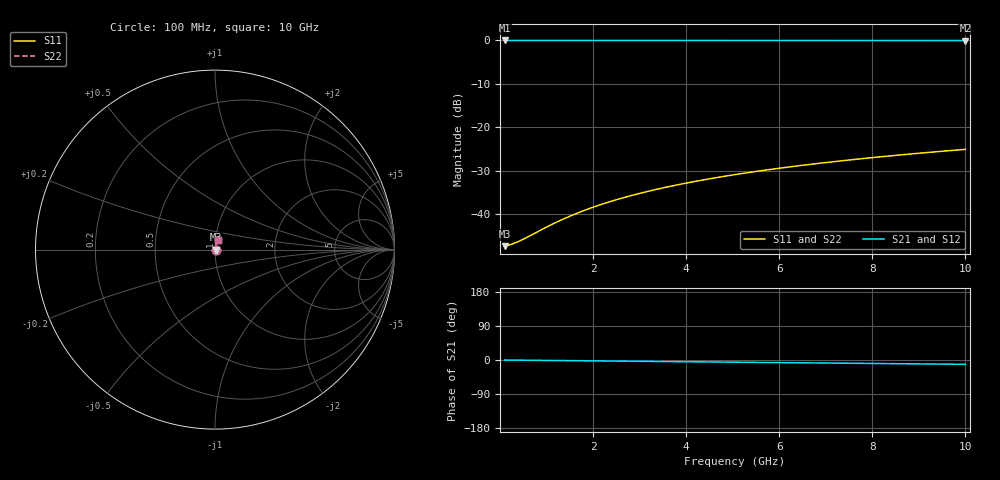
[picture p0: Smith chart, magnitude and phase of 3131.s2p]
# Hz S RI R 50.00
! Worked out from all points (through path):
!   100 points, 100 MHz to 10 GHz, reference 50 ohm
!   highest |S21| = -0.04 dB at 100 MHz (marker M1); lowest = -0.1 dB at 10 GHz (marker M2)
!   group delay of S21, straight-line fit = 3.17 ps
!   lowest |S11| = -47.3 dB at 100 MHz (marker M3), VSWR 1.01, Z = 50.4 + j0.0556 ohm
!   |S11| at or under -10 dB: start of sweep to end of sweep
!   |S22| runs from -47.3 to -25.1 dB; largest |S21 - S12| = 0
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1e8  0.00426 0.000551  0.9957 -0.00198  0.9957 -0.00198  0.00426 0.000551
2e8  0.00429 0.0011  0.9957 -0.00397  0.9957 -0.00397  0.00429 0.0011
3e8  0.00432 0.00165  0.9957 -0.00595  0.9957 -0.00595  0.00432 0.00165
4e8  0.00434 0.0022  0.9956 -0.00794  0.9956 -0.00794  0.00434 0.0022
5e8  0.00436 0.00275  0.9956 -0.00992  0.9956 -0.00992  0.00436 0.00275
1e9  0.0045 0.00551  0.9954 -0.0198  0.9954 -0.0198  0.0045 0.00551
1.2e9  0.00456 0.00661  0.9953 -0.0238  0.9953 -0.0238  0.00456 0.00661
1.5e9  0.00467 0.00826  0.9951 -0.0298  0.9951 -0.0298  0.00467 0.00826
1.8e9  0.0048 0.0099  0.9948 -0.0357  0.9948 -0.0357  0.0048 0.0099
2.1e9  0.00494 0.0115  0.9946 -0.0416  0.9946 -0.0416  0.00494 0.0115
2.5e9  0.00516 0.0137  0.9942 -0.0496  0.9942 -0.0496  0.00516 0.0137
2.9e9  0.00542 0.0159  0.9937 -0.0575  0.9937 -0.0575  0.00542 0.0159
3.4e9  0.00578 0.0187  0.993 -0.0674  0.993 -0.0674  0.00578 0.0187
3.8e9  0.00612 0.0208  0.9923 -0.0753  0.9923 -0.0753  0.00612 0.0208
4.2e9  0.00648 0.023  0.9916 -0.0832  0.9916 -0.0832  0.00648 0.023
4.6e9  0.00688 0.0252  0.9909 -0.0911  0.9909 -0.0911  0.00688 0.0252
5.1e9  0.00743 0.0279  0.9898 -0.1009  0.9898 -0.1009  0.00743 0.0279
5.9e9  0.00842 0.0322  0.9879 -0.1167  0.9879 -0.1167  0.00842 0.0322
6.7e9  0.00954 0.0364  0.9857 -0.1324  0.9857 -0.1324  0.00954 0.0364
7.5e9  0.0108 0.0406  0.9833 -0.1481  0.9833 -0.1481  0.0108 0.0406
8.4e9  0.0124 0.0453  0.9802 -0.1656  0.9802 -0.1656  0.0124 0.0453
1e10  0.0156 0.0535  0.974 -0.1967  0.974 -0.1967  0.0156 0.0535
